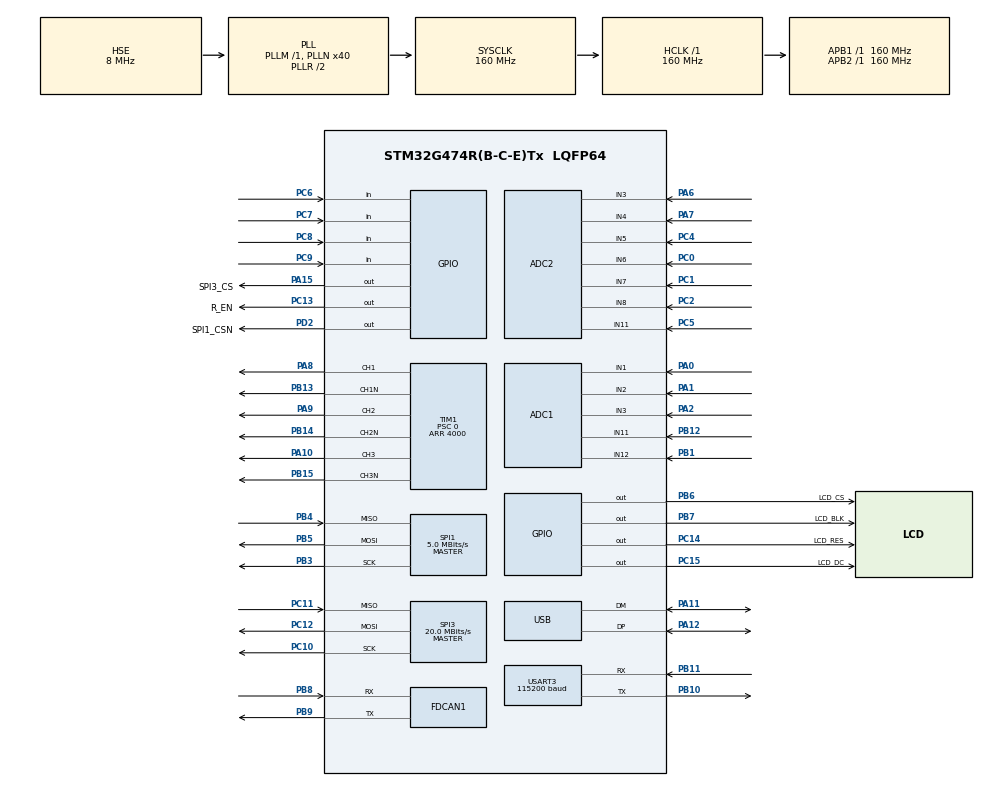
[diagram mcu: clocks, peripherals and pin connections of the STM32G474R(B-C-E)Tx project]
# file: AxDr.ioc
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ADC1.Channel-4\#ChannelRegularConversion=ADC_CHANNEL_11
ADC1.Channel-5\#ChannelRegularConversion=ADC_CHANNEL_12
ADC1.ContinuousConvMode=ENABLE
ADC1.DMAContinuousRequests=ENABLE
ADC1.EnableInjectedConversion=ENABLE
ADC1.EnableRegularConversion=ENABLE
ADC1.ExternalTrigInjecConv=ADC_EXTERNALTRIGINJEC_T1_CC4
ADC1.ExternalTrigInjecConvEdge=ADC_EXTERNALTRIGINJECCONV_EDGE_FALLING
ADC1.InjNumberOfConversion=3
ADC1.InjectedChannel-1\#ChannelInjectedConversion=ADC_CHANNEL_1
ADC1.InjectedChannel-2\#ChannelInjectedConversion=ADC_CHANNEL_2
ADC1.InjectedChannel-3\#ChannelInjectedConversion=ADC_CHANNEL_3
ADC1.InjectedOffsetNumber-1\#ChannelInjectedConversion=ADC_OFFSET_NONE
ADC1.InjectedOffsetNumber-2\#ChannelInjectedConversion=ADC_OFFSET_NONE
ADC1.InjectedOffsetNumber-3\#ChannelInjectedConversion=ADC_OFFSET_NONE
ADC1.InjectedRank-1\#ChannelInjectedConversion=1
ADC1.InjectedRank-2\#ChannelInjectedConversion=2
ADC1.InjectedRank-3\#ChannelInjectedConversion=3
ADC1.InjectedSamplingTime-1\#ChannelInjectedConversion=ADC_SAMPLETIME_47CYCLES_5
ADC1.InjectedSamplingTime-2\#ChannelInjectedConversion=ADC_SAMPLETIME_47CYCLES_5
ADC1.InjectedSamplingTime-3\#ChannelInjectedConversion=ADC_SAMPLETIME_47CYCLES_5
ADC1.NbrOfConversion=2
ADC1.NbrOfConversionFlag=1
ADC1.OffsetNumber-4\#ChannelRegularConversion=ADC_OFFSET_NONE
ADC1.OffsetNumber-5\#ChannelRegularConversion=ADC_OFFSET_NONE
ADC1.Rank-4\#ChannelRegularConversion=1
ADC1.Rank-5\#ChannelRegularConversion=2
ADC1.SamplingTime-4\#ChannelRegularConversion=ADC_SAMPLETIME_47CYCLES_5
ADC1.SamplingTime-5\#ChannelRegularConversion=ADC_SAMPLETIME_47CYCLES_5
ADC1.master=1
ADC2.Channel-11\#ChannelRegularConversion=ADC_CHANNEL_5
ADC2.Channel-12\#ChannelRegularConversion=ADC_CHANNEL_6
ADC2.Channel-13\#ChannelRegularConversion=ADC_CHANNEL_7
ADC2.Channel-14\#ChannelRegularConversion=ADC_CHANNEL_8
ADC2.ContinuousConvMode=ENABLE
ADC2.DMAContinuousRequests=ENABLE
ADC2.EnableInjectedConversion=ENABLE
ADC2.EnableRegularConversion=ENABLE
ADC2.ExternalTrigInjecConv=ADC_EXTERNALTRIGINJEC_T1_CC4
ADC2.ExternalTrigInjecConvEdge=ADC_EXTERNALTRIGINJECCONV_EDGE_FALLING
ADC2.InjNumberOfConversion=1
ADC2.InjectedChannel-1\#ChannelInjectedConversion=ADC_CHANNEL_11
ADC2.InjectedOffsetNumber-1\#ChannelInjectedConversion=ADC_OFFSET_NONE
ADC2.InjectedRank-1\#ChannelInjectedConversion=1
ADC2.InjectedSamplingTime-1\#ChannelInjectedConversion=ADC_SAMPLETIME_47CYCLES_5
ADC2.NbrOfConversion=4
ADC2.NbrOfConversionFlag=1
ADC2.OffsetNumber-11\#ChannelRegularConversion=ADC_OFFSET_NONE
ADC2.OffsetNumber-12\#ChannelRegularConversion=ADC_OFFSET_NONE
ADC2.OffsetNumber-13\#ChannelRegularConversion=ADC_OFFSET_NONE
ADC2.OffsetNumber-14\#ChannelRegularConversion=ADC_OFFSET_NONE
ADC2.Rank-11\#ChannelRegularConversion=1
ADC2.Rank-12\#ChannelRegularConversion=2
ADC2.Rank-13\#ChannelRegularConversion=3
ADC2.Rank-14\#ChannelRegularConversion=4
ADC2.SamplingTime-11\#ChannelRegularConversion=ADC_SAMPLETIME_47CYCLES_5
ADC2.SamplingTime-12\#ChannelRegularConversion=ADC_SAMPLETIME_47CYCLES_5
ADC2.SamplingTime-13\#ChannelRegularConversion=ADC_SAMPLETIME_47CYCLES_5
ADC2.SamplingTime-14\#ChannelRegularConversion=ADC_SAMPLETIME_47CYCLES_5
Dma.ADC1.3.Direction=DMA_PERIPH_TO_MEMORY
Dma.ADC1.3.EventEnable=DISABLE
Dma.ADC1.3.Instance=DMA1_Channel4
Dma.ADC1.3.MemDataAlignment=DMA_MDATAALIGN_HALFWORD
Dma.ADC1.3.MemInc=DMA_MINC_ENABLE
Dma.ADC1.3.Mode=DMA_CIRCULAR
Dma.ADC1.3.PeriphDataAlignment=DMA_PDATAALIGN_HALFWORD
Dma.ADC1.3.PeriphInc=DMA_PINC_DISABLE
Dma.ADC1.3.Polarity=HAL_DMAMUX_REQ_GEN_RISING
Dma.ADC1.3.Priority=DMA_PRIORITY_LOW
Dma.ADC1.3.RequestNumber=1
Dma.ADC1.3.SignalID=NONE
Dma.ADC1.3.SyncEnable=DISABLE
Dma.ADC1.3.SyncPolarity=HAL_DMAMUX_SYNC_NO_EVENT
Dma.ADC1.3.SyncRequestNumber=1
Dma.ADC1.3.SyncSignalID=NONE
Dma.ADC2.2.Direction=DMA_PERIPH_TO_MEMORY
Dma.ADC2.2.EventEnable=DISABLE
Dma.ADC2.2.Instance=DMA1_Channel3
Dma.ADC2.2.MemDataAlignment=DMA_MDATAALIGN_HALFWORD
Dma.ADC2.2.MemInc=DMA_MINC_ENABLE
Dma.ADC2.2.Mode=DMA_CIRCULAR
Dma.ADC2.2.PeriphDataAlignment=DMA_PDATAALIGN_HALFWORD
Dma.ADC2.2.PeriphInc=DMA_PINC_DISABLE
Dma.ADC2.2.Polarity=HAL_DMAMUX_REQ_GEN_RISING
Dma.ADC2.2.Priority=DMA_PRIORITY_LOW
Dma.ADC2.2.RequestNumber=1
Dma.ADC2.2.SignalID=NONE
Dma.ADC2.2.SyncEnable=DISABLE
Dma.ADC2.2.SyncPolarity=HAL_DMAMUX_SYNC_NO_EVENT
Dma.ADC2.2.SyncRequestNumber=1
Dma.ADC2.2.SyncSignalID=NONE
Dma.Request0=USART3_RX
Dma.Request1=USART3_TX
Dma.Request2=ADC2
Dma.Request3=ADC1
Dma.USART3_RX.0.Direction=DMA_PERIPH_TO_MEMORY
Dma.USART3_RX.0.EventEnable=DISABLE
Dma.USART3_RX.0.Instance=DMA1_Channel1
Dma.USART3_RX.0.MemDataAlignment=DMA_MDATAALIGN_BYTE
Dma.USART3_RX.0.MemInc=DMA_MINC_ENABLE
Dma.USART3_RX.0.Mode=DMA_NORMAL
Dma.USART3_RX.0.PeriphDataAlignment=DMA_PDATAALIGN_BYTE
Dma.USART3_RX.0.PeriphInc=DMA_PINC_DISABLE
Dma.USART3_RX.0.Polarity=HAL_DMAMUX_REQ_GEN_RISING
Dma.USART3_RX.0.Priority=DMA_PRIORITY_LOW
Dma.USART3_RX.0.RequestNumber=1
Dma.USART3_RX.0.SignalID=NONE
Dma.USART3_RX.0.SyncEnable=DISABLE
Dma.USART3_RX.0.SyncPolarity=HAL_DMAMUX_SYNC_NO_EVENT
Dma.USART3_RX.0.SyncRequestNumber=1
Dma.USART3_RX.0.SyncSignalID=NONE
Dma.USART3_TX.1.Direction=DMA_MEMORY_TO_PERIPH
Dma.USART3_TX.1.EventEnable=DISABLE
Dma.USART3_TX.1.Instance=DMA1_Channel2
Dma.USART3_TX.1.MemDataAlignment=DMA_MDATAALIGN_BYTE
Dma.USART3_TX.1.MemInc=DMA_MINC_ENABLE
Dma.USART3_TX.1.Mode=DMA_NORMAL
Dma.USART3_TX.1.PeriphDataAlignment=DMA_PDATAALIGN_BYTE
Dma.USART3_TX.1.PeriphInc=DMA_PINC_DISABLE
Dma.USART3_TX.1.Polarity=HAL_DMAMUX_REQ_GEN_RISING
Dma.USART3_TX.1.Priority=DMA_PRIORITY_LOW
Dma.USART3_TX.1.RequestNumber=1
Dma.USART3_TX.1.SignalID=NONE
Dma.USART3_TX.1.SyncEnable=DISABLE
Dma.USART3_TX.1.SyncPolarity=HAL_DMAMUX_SYNC_NO_EVENT
Dma.USART3_TX.1.SyncRequestNumber=1
Dma.USART3_TX.1.SyncSignalID=NONE
FDCAN1.AutoRetransmission=ENABLE
FDCAN1.CalculateBaudRateNominal=1000000
FDCAN1.CalculateTimeBitNominal=1000
FDCAN1.CalculateTimeQuantumNominal=12.5
FDCAN1.DataPrescaler=1
FDCAN1.DataSyncJumpWidth=1
FDCAN1.DataTimeSeg1=14
FDCAN1.DataTimeSeg2=1
FDCAN1.ExtFiltersNbr=8
FDCAN1.FrameFormat=FDCAN_FRAME_FD_BRS
FDCAN1.NominalPrescaler=1
FDCAN1.NominalSyncJumpWidth=20
FDCAN1.NominalTimeSeg1=59
FDCAN1.NominalTimeSeg2=20
FDCAN1.ProtocolException=DISABLE
FDCAN1.StdFiltersNbr=16
FDCAN1.TransmitPause=ENABLE
Mcu.Family=STM32G4
Mcu.Name=STM32G474R(B-C-E)Tx
Mcu.Package=LQFP64
NVIC.ADC1_2_IRQn=true\:0\:0\:false\:false\:true\:true\:true\:true
NVIC.DMA1_Channel1_IRQn=true\:0\:0\:false\:false\:true\:false\:true\:true
NVIC.DMA1_Channel2_IRQn=true\:0\:0\:false\:false\:true\:false\:true\:true
NVIC.DMA1_Channel3_IRQn=true\:0\:0\:false\:false\:true\:false\:true\:true
NVIC.DMA1_Channel4_IRQn=true\:0\:0\:false\:false\:true\:false\:true\:true
NVIC.FDCAN1_IT0_IRQn=true\:0\:0\:false\:false\:true\:true\:true\:true
NVIC.FDCAN1_IT1_IRQn=true\:0\:0\:false\:false\:true\:true\:true\:true
NVIC.PriorityGroup=NVIC_PRIORITYGROUP_4
NVIC.TIM1_UP_TIM16_IRQn=true\:0\:0\:false\:false\:true\:true\:true\:true
NVIC.USART3_IRQn=true\:0\:0\:false\:false\:true\:true\:true\:true
NVIC.USB_LP_IRQn=true\:0\:0\:false\:false\:true\:false\:true\:true
PA0.Mode=IN1-Single-Ended
PA0.Signal=ADC1_IN1
PA1.Mode=IN2-Single-Ended
PA1.Signal=ADC1_IN2
PA10.Signal=S_TIM1_CH3
PA11.Mode=Device
PA11.Signal=USB_DM
PA12.Mode=Device
PA12.Signal=USB_DP
PA13.Mode=Serial_Wire
PA13.Signal=SYS_JTMS-SWDIO
PA14.Mode=Serial_Wire
PA14.Signal=SYS_JTCK-SWCLK
PA15.GPIO_Label=SPI3_CS
PA15.GPIO_PuPd=GPIO_PULLUP
PA15.Signal=GPIO_Output
PA2.Mode=IN3-Single-Ended
PA2.Signal=ADC1_IN3
PA6.Mode=IN3-Single-Ended
PA6.Signal=ADC2_IN3
PA7.Mode=IN4-Single-Ended
PA7.Signal=ADC2_IN4
PA8.Signal=S_TIM1_CH1
PA9.Signal=S_TIM1_CH2
PB1.Mode=IN12-Single-Ended
PB1.Signal=ADC1_IN12
PB10.Mode=Asynchronous
PB10.Signal=USART3_TX
PB11.Mode=Asynchronous
PB11.Signal=USART3_RX
PB12.Mode=IN11-Single-Ended
PB12.Signal=ADC1_IN11
PB13.Mode=PWM Generation1 CH1 CH1N
PB13.Signal=TIM1_CH1N
PB14.Mode=PWM Generation2 CH2 CH2N
PB14.Signal=TIM1_CH2N
PB15.Mode=PWM Generation3 CH3 CH3N
PB15.Signal=TIM1_CH3N
PB3.Mode=Full_Duplex_Master
PB3.Signal=SPI1_SCK
PB4.Mode=Full_Duplex_Master
PB4.Signal=SPI1_MISO
PB5.Mode=Full_Duplex_Master
PB5.Signal=SPI1_MOSI
PB6.GPIO_Label=LCD_CS
PB6.GPIO_PuPd=GPIO_PULLDOWN
PB6.Signal=GPIO_Output
PB7.GPIO_Label=LCD_BLK
PB7.GPIO_PuPd=GPIO_PULLDOWN
PB7.Signal=GPIO_Output
PB8-BOOT0.Mode=FDCAN_Activate
PB8-BOOT0.Signal=FDCAN1_RX
PB9.Mode=FDCAN_Activate
PB9.Signal=FDCAN1_TX
PC0.Mode=IN6-Single-Ended
PC0.Signal=ADC2_IN6
PC1.Mode=IN7-Single-Ended
PC1.Signal=ADC2_IN7
PC10.Mode=Full_Duplex_Master
PC10.Signal=SPI3_SCK
PC11.Mode=Full_Duplex_Master
PC11.Signal=SPI3_MISO
PC12.Mode=Full_Duplex_Master
PC12.Signal=SPI3_MOSI
PC13.GPIO_Label=R_EN
PC13.Signal=GPIO_Output
PC14-OSC32_IN.GPIO_Label=LCD_RES
PC14-OSC32_IN.GPIO_PuPd=GPIO_PULLUP
PC14-OSC32_IN.PinState=GPIO_PIN_SET
PC14-OSC32_IN.Signal=GPIO_Output
PC15-OSC32_OUT.GPIO_Label=LCD_DC
PC15-OSC32_OUT.GPIO_PuPd=GPIO_PULLDOWN
PC15-OSC32_OUT.PinState=GPIO_PIN_SET
PC15-OSC32_OUT.Signal=GPIO_Output
PC2.Mode=IN8-Single-Ended
PC2.Signal=ADC2_IN8
PC4.Mode=IN5-Single-Ended
PC4.Signal=ADC2_IN5
PC5.Mode=IN11-Single-Ended
PC5.Signal=ADC2_IN11
PC6.GPIO_PuPd=GPIO_PULLUP
PC6.Signal=GPIO_Input
PC7.GPIO_PuPd=GPIO_PULLUP
PC7.Signal=GPIO_Input
PC8.GPIO_PuPd=GPIO_PULLUP
PC8.Signal=GPIO_Input
PC9.GPIO_PuPd=GPIO_PULLUP
PC9.Signal=GPIO_Input
PD2.GPIO_Label=SPI1_CSN
PD2.GPIO_PuPd=GPIO_PULLDOWN
PD2.Signal=GPIO_Output
PF0-OSC_IN.Mode=HSE-External-Oscillator
PF0-OSC_IN.Signal=RCC_OSC_IN
PF1-OSC_OUT.Mode=HSE-External-Oscillator
PF1-OSC_OUT.Signal=RCC_OSC_OUT
ProjectManager.HeapSize=0x200
ProjectManager.StackSize=0x400
ProjectManager.TargetToolchain=CMake
RCC.ADC12Freq_Value=160000000
RCC.ADC345Freq_Value=160000000
RCC.AHBFreq_Value=160000000
RCC.APB1Freq_Value=160000000
RCC.APB1TimFreq_Value=160000000
RCC.APB2Freq_Value=160000000
RCC.APB2TimFreq_Value=160000000
RCC.CK48CLockSelection=RCC_USBCLKSOURCE_HSI48
RCC.CortexFreq_Value=160000000
RCC.EXTERNAL_CLOCK_VALUE=12288000
RCC.FDCANCLockSelection=RCC_FDCANCLKSOURCE_PLL
RCC.HCLKFreq_Value=160000000
RCC.HSE_VALUE=8000000
RCC.HSI48_VALUE=48000000
RCC.HSI_VALUE=16000000
RCC.LSE_VALUE=32768
RCC.PLLN=40
RCC.PLLQ=RCC_PLLQ_DIV4
RCC.PLLSourceVirtual=RCC_PLLSOURCE_HSE
RCC.SYSCLKFreq_VALUE=160000000
RCC.SYSCLKSource=RCC_SYSCLKSOURCE_PLLCLK
RCC.USBFreq_Value=48000000
RCC.VCOOutputFreq_Value=320000000
SH.S_TIM1_CH1.0=TIM1_CH1,PWM Generation1 CH1 CH1N
SH.S_TIM1_CH2.0=TIM1_CH2,PWM Generation2 CH2 CH2N
SH.S_TIM1_CH3.0=TIM1_CH3,PWM Generation3 CH3 CH3N
SPI1.BaudRatePrescaler=SPI_BAUDRATEPRESCALER_32
SPI1.CLKPhase=SPI_PHASE_2EDGE
SPI1.CLKPolarity=SPI_POLARITY_HIGH
SPI1.CRCCalculation=SPI_CRCCALCULATION_DISABLE
SPI1.CalculateBaudRate=5.0 MBits/s
SPI1.DataSize=SPI_DATASIZE_16BIT
SPI1.Direction=SPI_DIRECTION_2LINES
SPI1.FirstBit=SPI_FIRSTBIT_MSB
SPI1.Mode=SPI_MODE_MASTER
SPI1.NSS=SPI_NSS_SOFT
SPI1.TIMode=SPI_TIMODE_DISABLE
SPI1.VirtualType=VM_MASTER
SPI3.BaudRatePrescaler=SPI_BAUDRATEPRESCALER_8
SPI3.CalculateBaudRate=20.0 MBits/s
SPI3.DataSize=SPI_DATASIZE_8BIT
SPI3.Direction=SPI_DIRECTION_2LINES
SPI3.Mode=SPI_MODE_MASTER
SPI3.VirtualType=VM_MASTER
TIM1.AutoReloadPreload=TIM_AUTORELOAD_PRELOAD_DISABLE
TIM1.AutomaticOutput=TIM_AUTOMATICOUTPUT_DISABLE
TIM1.Break2Filter=0
TIM1.Break2Polarity=TIM_BREAK2POLARITY_HIGH
TIM1.Break2State=TIM_BREAK2_DISABLE
TIM1.BreakFilter=0
TIM1.BreakPolarity=TIM_BREAKPOLARITY_HIGH
TIM1.BreakState=TIM_BREAK_DISABLE
TIM1.Channel-PWM\ Generation1\ CH1\ CH1N=TIM_CHANNEL_1
TIM1.Channel-PWM\ Generation2\ CH2\ CH2N=TIM_CHANNEL_2
TIM1.Channel-PWM\ Generation3\ CH3\ CH3N=TIM_CHANNEL_3
TIM1.Channel-PWM\ Generation4\ No\ Output=TIM_CHANNEL_4
TIM1.ClearInputSource=TIM_CLEARINPUTSOURCE_NONE
TIM1.ClockDivision=TIM_CLOCKDIVISION_DIV1
TIM1.CounterMode=TIM_COUNTERMODE_CENTERALIGNED2
TIM1.Dithering=Disable
TIM1.DeadTime=80
TIM1.LockLevel=TIM_LOCKLEVEL_OFF
TIM1.OC4Preload_PWM=ENABLE
TIM1.OCFastMode_PWM-PWM\ Generation4\ No\ Output=TIM_OCFAST_DISABLE
TIM1.OCIdleState_4=TIM_OCIDLESTATE_RESET
TIM1.OCMode_PWM-PWM\ Generation4\ No\ Output=TIM_OCMODE_PWM1
TIM1.OCPolarity_4=TIM_OCPOLARITY_HIGH
TIM1.OffStateIDLEMode=TIM_OSSI_DISABLE
TIM1.PeriodNoDither=4000
TIM1.Prescaler=0
TIM1.PulseNoDither_4=0
TIM1.RepetitionCounter=0
TIM1.SourceBRK2COMP1=TIM_BREAKINPUTSOURCE_DISABLE
TIM1.SourceBRK2COMP2=TIM_BREAKINPUTSOURCE_DISABLE
TIM1.SourceBRK2COMP3=TIM_BREAKINPUTSOURCE_DISABLE
TIM1.SourceBRK2COMP4=TIM_BREAKINPUTSOURCE_DISABLE
TIM1.SourceBRK2DigInput=TIM_BREAKINPUTSOURCE_DISABLE
TIM1.SourceBRKCOMP1=TIM_BREAKINPUTSOURCE_DISABLE
TIM1.SourceBRKCOMP2=TIM_BREAKINPUTSOURCE_DISABLE
TIM1.SourceBRKCOMP3=TIM_BREAKINPUTSOURCE_DISABLE
TIM1.SourceBRKCOMP4=TIM_BREAKINPUTSOURCE_DISABLE
TIM1.SourceBRKDigInput=TIM_BREAKINPUTSOURCE_DISABLE
TIM1.TIM_MasterOutputTrigger=TIM_TRGO_RESET
TIM1.TIM_MasterOutputTrigger2=TIM_TRGO2_RESET
TIM1.TIM_MasterSlaveMode=TIM_MASTERSLAVEMODE_DISABLE
TIM3.Prescaler=0
USART3.BaudRate=115200
USART3.VirtualMode-Asynchronous=VM_ASYNC
USB.DeviceSpeed=PCD_SPEED_FULL
USB.Sof_enable=DISABLE
USB.battery_charging_enable=DISABLE
USB.low_power_enable=DISABLE
USB.lpm_enable=DISABLE
USB.phy_itface=PCD_PHY_EMBEDDED
USB_DEVICE.CLASS_NAME_FS=CDC
USB_DEVICE.VirtualMode=Cdc
USB_DEVICE.VirtualModeFS=Cdc_FS
VP_SYS_VS_DBSignals.Mode=DisableDeadBatterySignals
VP_TIM1_VS_ClockSourceINT.Mode=Internal
VP_TIM1_VS_no_output4.Mode=PWM Generation4 No Output
VP_TIM3_VS_ClockSourceINT.Mode=Internal
VP_USB_DEVICE_VS_USB_DEVICE_CDC_FS.Mode=CDC_FS
board=custom

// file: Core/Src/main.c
/* USER CODE BEGIN Header */
/**
  ******************************************************************************
  * @file           : main.c
  * @brief          : 系统启动与后台任务入口。电机快环由 ADC 中断调用。
  ******************************************************************************
  * @attention
  *
  * Copyright (c) 2025 STMicroelectronics.
  * All rights reserved.
  *
  * This software is licensed under terms that can be found in the LICENSE file
  * in the root directory of this software component.
  * If no LICENSE file comes with this software, it is provided AS-IS.
  *
  ******************************************************************************
  */
/* USER CODE END Header */
#include "main.h"
#include "adc.h"
#include "dma.h"
#include "fdcan.h"
#include "spi.h"
#include "tim.h"
#include "usart.h"
#include "usb_device.h"
#include "gpio.h"

/* USER CODE BEGIN Includes */
#include "fast_loop.h"
#include "foc.h"
#include "current_offset.h"
#include "drive_diag.h"
#include "rtt_log.h"
#include "target_adc.h"
#include "target_time.h"
#include "target_irq_profile.h"
#include "moldue.h"
#include "lcd.h"
#include "service_command.h"
#include "service_param_store.h"
#include "service_telemetry.h"
#include "service_usb.h"
#include "service_usb_tx.h"
#include "service_observation.h"
#include "target_reset.h"
#include "usbd_cdc_if.h"
#include "axdr_command_contract.h"
#include <string.h>
/* USER CODE END Includes */

/* USER CODE BEGIN PV */
static uint32_t observation_usb_generation;
static uint32_t observation_stats_tick;

/* USER CODE END PV */

void SystemClock_Config(void);
/* USER CODE BEGIN PFP */
static void app_motor_init(void);
static void app_services_init(void);
static void app_display_init(void);
static void app_background_poll(void);
static void app_observation_update(void);

static int usb_cdc_tx_status(const uint8_t *data, uint16_t length);
static uint32_t usb_tx_lock(void);
static void usb_tx_unlock(uint32_t enabled);
static int usb_command_tx(const uint8_t *data, uint16_t length);

/* 当前板级接口尚未提供独立声明头。 */
extern void target_irq_priority_apply(void);
/* USER CODE END PFP */

/* USER CODE BEGIN 0 */
/* 阅读顺序：main → app_motor_init / app_background_poll。
 * 20 kHz 电机控制入口在 User/app/fast_loop.c，不在 while 循环中执行。
 * 本文件内部实现放在 USER CODE 4 区，保留 CubeMX 的生成区域。
 */
/* USER CODE END 0 */

int main(void)
{

  /* MCU Configuration--------------------------------------------------------*/

  /* Reset of all peripherals, Initializes the Flash interface and the Systick. */
  HAL_Init();

  /* 复位原因最早锁存：之后任何代码清掉 RCC->CSR 都会丢原因。 */
  target_reset_latch();

  /* Configure the system clock */
  SystemClock_Config();

  /* USER CODE BEGIN SysInit */
  /* USB 外设初始化前准备发送队列，供后续 USB 回调使用。 */
  service_usb_tx_init(usb_cdc_tx_status, usb_tx_lock, usb_tx_unlock);

  /* USER CODE END SysInit */

  /* Initialize all configured peripherals */
  MX_GPIO_Init();
  MX_DMA_Init();
  MX_SPI1_Init();
  MX_TIM1_Init();
  MX_TIM3_Init();
  MX_USB_Device_Init();
  MX_ADC1_Init();
  MX_ADC2_Init();
  MX_USART3_UART_Init();
  MX_FDCAN1_Init();
  MX_SPI3_Init();
  /* USER CODE BEGIN 2 */
  /* 1. 采样启动、控制器初始化、参数恢复，然后放行电机快环。 */
  app_motor_init();

  /* 2. 连接通信服务，并显示初始电机状态。 */
  app_services_init();
  app_display_init();
  /* USER CODE END 2 */

  /* Infinite loop */
  /* USER CODE BEGIN WHILE */
  while (1)
  {
    /* 3. 后台处理安全会话、通信和参数保存；控制快环由中断执行。 */
    app_background_poll();
    /* USER CODE END WHILE */

  }
}

void SystemClock_Config(void)
{
  RCC_OscInitTypeDef RCC_OscInitStruct = {0};
  RCC_ClkInitTypeDef RCC_ClkInitStruct = {0};

  /** Configure the main internal regulator output voltage
  */
  HAL_PWREx_ControlVoltageScaling(PWR_REGULATOR_VOLTAGE_SCALE1_BOOST);

  /** Initializes the RCC Oscillators according to the specified parameters
  * in the RCC_OscInitTypeDef structure.
  */
  RCC_OscInitStruct.OscillatorType = RCC_OSCILLATORTYPE_HSI48|RCC_OSCILLATORTYPE_HSE;
  RCC_OscInitStruct.HSEState = RCC_HSE_ON;
  RCC_OscInitStruct.HSI48State = RCC_HSI48_ON;
  RCC_OscInitStruct.PLL.PLLState = RCC_PLL_ON;
  RCC_OscInitStruct.PLL.PLLSource = RCC_PLLSOURCE_HSE;
  RCC_OscInitStruct.PLL.PLLM = RCC_PLLM_DIV1;
  RCC_OscInitStruct.PLL.PLLN = 40;
  RCC_OscInitStruct.PLL.PLLP = RCC_PLLP_DIV2;
  RCC_OscInitStruct.PLL.PLLQ = RCC_PLLQ_DIV4;
  RCC_OscInitStruct.PLL.PLLR = RCC_PLLR_DIV2;
  if (HAL_RCC_OscConfig(&RCC_OscInitStruct) != HAL_OK)
  {
    Error_Handler();
  }

  /** Initializes the CPU, AHB and APB buses clocks
  */
  RCC_ClkInitStruct.ClockType = RCC_CLOCKTYPE_HCLK|RCC_CLOCKTYPE_SYSCLK
                              |RCC_CLOCKTYPE_PCLK1|RCC_CLOCKTYPE_PCLK2;
  RCC_ClkInitStruct.SYSCLKSource = RCC_SYSCLKSOURCE_PLLCLK;
  RCC_ClkInitStruct.AHBCLKDivider = RCC_SYSCLK_DIV1;
  RCC_ClkInitStruct.APB1CLKDivider = RCC_HCLK_DIV1;
  RCC_ClkInitStruct.APB2CLKDivider = RCC_HCLK_DIV1;

  if (HAL_RCC_ClockConfig(&RCC_ClkInitStruct, FLASH_LATENCY_4) != HAL_OK)
  {
    Error_Handler();
  }
}

/* USER CODE BEGIN 4 */
/* 电机初始化 -------------------------------------------------------------- */

/* ADC 先提供零偏校准所需的采样；控制器和参数就绪后才允许执行快环。
 * 每一步完成都写 RTT 日志：上电卡住时看日志即知卡在哪一步。 */
static void app_motor_init(void)
{
    rtt_log_init();
    HAL_Delay(1000);
    HAL_TIM_Base_Start(&htim3);

    /* 在 ADC 中断启动前初始化计时器，避免产生虚假的采样间隔。 */
    target_time_init();
    if (!target_adc_start())
    {
        Error_Handler();
    }
    target_irq_priority_apply();
    rtt_log_str("adc started");

    /* 恢复参数时快环仍被禁止；ABZ 上电后仍需重新对齐。 */
    foc_init(&g_foc);
    rtt_log_str("foc init done");
    cur_offset_init(&g_foc);
    rtt_log_str("current offset done");
    service_param_store_boot();
    rtt_log_str("param restore done");
    {
        /* 上电自增 boot_id（追加记录，页满才擦）：上位机以此区分重启。 */
        uint32_t boot_id = 0u;

        (void)service_param_store_boot_id_read(&boot_id);
        boot_id += 1u;
        service_param_store_boot_id_commit(boot_id);
        rtt_log_u32("boot_id", boot_id);
        rtt_log_u32("reset_reason", target_reset_reason());
    }
    drive_diag_ident_load();
    fast_loop_enable();
    rtt_log_str("fast loop enabled");
}

/* 通信与显示初始化 -------------------------------------------------------- */

static void app_services_init(void)
{
    service_telemetry_init();
    service_observation_init();

    /* 命令应答和波形数据共用发送队列，实际发送由后台任务完成。 */
    service_usb_bind_tx(usb_command_tx);
    service_telemetry_bind_tx(service_usb_tx_enqueue_data);
    service_observation_bind_tx(service_usb_tx_enqueue_data);
}

static void app_display_init(void)
{
    LCD_Init();
    LCD_Fill(0, 0, LCD_W, LCD_H, BLACK);
    HAL_Delay(1000);
    display_foc();
}

/* 后台任务 ---------------------------------------------------------------- */

/* 每轮先检查安全会话，再处理通信，最后处理待保存的参数。 */
static void app_background_poll(void)
{
    /* 安全会话与观测链路状态。 */
    service_safety_poll();
    app_observation_update();

    /* 接收命令、准备数据、发送应答与波形。 */
    service_usb_poll();
    service_observation_poll();
    service_telemetry_poll();
    service_usb_tx_poll();

    /* 参数保存放在后台，避免在控制中断中执行 Flash 擦写。 */
    service_param_store_poll();
    service_param_store_ident_poll();
}

/* 连接变化时重置观测；每 50 ms 汇总一次通信和中断统计。 */
static void app_observation_update(void)
{
    const uint32_t generation = service_usb_tx_link_generation();
    const uint32_t tick = HAL_GetTick();
    if (generation != observation_usb_generation)
    {
        observation_usb_generation = generation;
        service_observation_reset_link();
    }
    if ((uint32_t)(tick - observation_stats_tick) >= 50u)
    {
        service_usb_tx_stats_t tx;
        target_irq_profile_t irq;
        observation_stats_tick = tick;
        service_usb_tx_get_stats(&tx);
        target_irq_profile_read(&irq);
        service_observation_set_tx_stats(tx.command_completed + tx.data_completed,
            tx.submit_errors + tx.unexpected_completions +
                service_usb_stats()->tx_queue_full + service_usb_stats()->tx_errors,
            tx.aborted_frames, tx.queue_peak);
        service_observation_set_timing_stats(irq.last_cycles, irq.max_cycles,
            irq.overruns, irq.core_clock_hz);
        service_observation_set_irq_stats(irq.count, irq.gap_count,
            irq.max_interval_cycles, irq.adc_overruns);
    }
}

/* USB 发送适配 ------------------------------------------------------------ */

/* 将 USB 驱动的发送结果转换为服务接口约定：0 成功，1 忙，其他值为错误。 */
static int usb_cdc_tx_status(const uint8_t *data, uint16_t length)
{
    const uint8_t status = CDC_Transmit_FS((uint8_t *)data, length);
    return (status == USBD_OK) ? 0 : ((status == USBD_BUSY) ? 1 : 2);
}

/* 队列和 CDC 回调共享少量状态，仅屏蔽 USB IRQ，不屏蔽 20 kHz ADC 控制环。 */
static uint32_t usb_tx_lock(void)
{
    const uint32_t enabled = NVIC_GetEnableIRQ(USB_LP_IRQn);
    NVIC_DisableIRQ(USB_LP_IRQn);
    __DSB();
    __ISB();
    return enabled;
}

static void usb_tx_unlock(uint32_t enabled)
{
    __DMB();
    if (enabled != 0u)
    {
        NVIC_EnableIRQ(USB_LP_IRQn);
    }
}

static int usb_command_tx(const uint8_t *data, uint16_t length)
{
    const uint32_t enabled = usb_tx_lock();
    /* 命令处理可被 USB 复位打断；检查与入队同在一个临界区。 */
    const int result = service_usb_response_is_current() != 0u
        ? service_usb_tx_enqueue_command(data, length) : 2;
    usb_tx_unlock(enabled);
    return result;
}
/* USER CODE END 4 */

void Error_Handler(void)
{
  __disable_irq();
  while (1)
  {
  }
}
